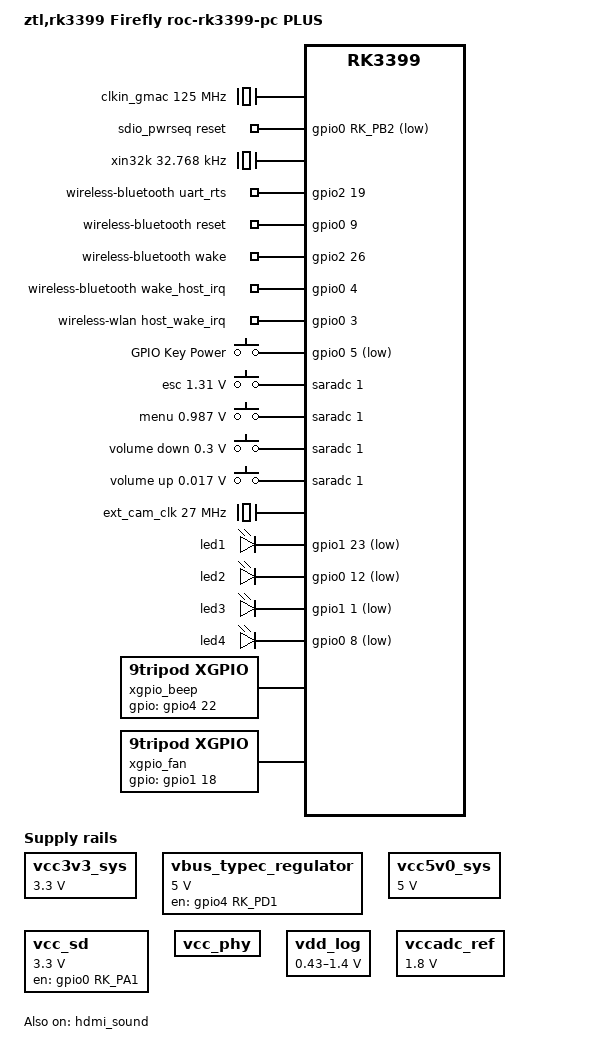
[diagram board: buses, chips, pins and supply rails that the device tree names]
/dts-v1/;

#include "rk3399-dc3399-linux.dtsi"


/ {

	compatible = "ZTL-RK3399-v1.42";
	model = "ztl,rk3399 Firefly roc-rk3399-pc PLUS";

    chosen {
		bootargs = "serial2:1500000n8";
	};

    backlight: backlight {
		status = "disabled";
		compatible = "pwm-backlight";
		pwms = <&pwm0 0 25000 0>;
		brightness-levels = <
			  0   1   2   3   4   5   6   7
			  8   9  10  11  12  13  14  15
			 16  17  18  19  20  21  22  23
			 24  25  26  27  28  29  30  31
			 32  33  34  35  36  37  38  39
			 40  41  42  43  44  45  46  47
			 48  49  50  51  52  53  54  55
			 56  57  58  59  60  61  62  63
			 64  65  66  67  68  69  70  71
			 72  73  74  75  76  77  78  79
			 80  81  82  83  84  85  86  87
			 88  89  90  91  92  93  94  95
			 96  97  98  99 100 101 102 103
			104 105 106 107 108 109 110 111
			112 113 114 115 116 117 118 119
			120 121 122 123 124 125 126 127
			128 129 130 131 132 133 134 135
			136 137 138 139 140 141 142 143
			144 145 146 147 148 149 150 151
			152 153 154 155 156 157 158 159
			160 161 162 163 164 165 166 167
			168 169 170 171 172 173 174 175
			176 177 178 179 180 181 182 183
			184 185 186 187 188 189 190 191
			192 193 194 195 196 197 198 199
			200 201 202 203 204 205 206 207
			208 209 210 211 212 213 214 215
			216 217 218 219 220 221 222 223
			224 225 226 227 228 229 230 231
			232 233 234 235 236 237 238 239
			240 241 242 243 244 245 246 247
			248 249 250 251 252 253 254 255>;
		default-brightness-level = <200>;
	};

	clkin_gmac: external-gmac-clock {
		compatible = "fixed-clock";
		clock-frequency = <125000000>;
		clock-output-names = "clkin_gmac";
		#clock-cells = <0x00>;
	};

	dw_hdmi_audio: dw-hdmi-audio {
		compatible = "rockchip,dw-hdmi-audio";
		#sound-dai-cells = <0x00>;
        status = "disabled";
	};

	dp_sound: dp-sound {
		compatible = "rockchip,cdndp-sound";
		rockchip,cpu = <&spdif>;
		rockchip,codec = <&cdn_dp &gic>;
		status = "disabled";
	};

	sdio_pwrseq: sdio-pwrseq {
		compatible = "mmc-pwrseq-simple";
		clocks = <&rk808 PLL_APLLL>;
		clock-names = "ext_clock";
		pinctrl-names = "default";
		pinctrl-0 = <&wifi_enable_h>;
		reset-gpios = <&gpio0 RK_PB2 GPIO_ACTIVE_LOW>;
	};

	vcc3v3_sys: vcc3v3-sys {
		compatible = "regulator-fixed";
		regulator-name = "vcc3v3_sys";
		regulator-always-on;
		regulator-boot-on;
		regulator-min-microvolt = <3300000>;
		regulator-max-microvolt = <3300000>;
	};

	vbus_typec_regulator: vbus-typec-regulator {
		compatible = "regulator-fixed";
		enable-active-high;
		gpio = <&gpio4 RK_PD1 GPIO_ACTIVE_HIGH>;
		pinctrl-names = "default";
		pinctrl-0 = <&otg_vbus_drv>;
		regulator-name = "vbus-typec";
		regulator-min-microvolt = <5000000>;
		regulator-max-microvolt = <5000000>;
	};

	vcc5v0_sys: vcc5v0-sys {
		compatible = "regulator-fixed";
		regulator-name = "vcc5v0_sys";
		regulator-always-on;
		regulator-boot-on;
		regulator-min-microvolt = <5000000>;
		regulator-max-microvolt = <5000000>;
	};

	vcc_sd: vcc-sd {
		compatible = "regulator-fixed";
		enable-active-high;
		gpio = <&gpio0 RK_PA1 GPIO_ACTIVE_HIGH>;
		pinctrl-names = "default";
		pinctrl-0 = <&vcc_sd_h>;
		regulator-name = "vcc_sd";
		regulator-min-microvolt = <3300000>;
		regulator-max-microvolt = <3300000>;
	};

	vcc_phy: vcc-phy-regulator {
		compatible = "regulator-fixed";
		regulator-name = "vcc_phy";
		regulator-always-on;
		regulator-boot-on;
	};

	vdd_log: vdd-log {
		compatible = "pwm-regulator";
		pwms = <&pwm2 0 25000 1>;
		regulator-name = "vdd_log";
		regulator-min-microvolt = <430000>;
		regulator-max-microvolt = <1400000>;
		regulator-always-on;
		regulator-boot-on;
		rockchip,pwm_id = <2>;
		rockchip,pwm_voltage = <900000>;
	};

	xin32k: xin32k {
		compatible = "fixed-clock";
		clock-frequency = <32768>;
		clock-output-names = "xin32k";
		#clock-cells = <0>;
	};

	dummy_codec: dummy-codec {
		compatible = "rockchip,dummy-codec";
		#sound-dai-cells = <0>;
		clocks = <&cru SCLK_I2S_8CH_OUT>;
		clock-names = "mclk";
		pinctrl-names = "default";
		pinctrl-0 = <&i2s_8ch_mclk>;
		status = "disabled";
	};

	rockchip_i2s_sound: rockchip-i2s-sound {
		compatible = "simple-audio-card";
		simple-audio-card,name = "rockchip,rockchip-i2s-sound";
		simple-audio-card,format = "i2s";
		simple-audio-card,mclk-fs = <256>;
		status = "disabled";

		simple-audio-card,cpu {
			sound-dai = <&i2s1>;
		};

		simple-audio-card,codec {
			sound-dai = <&dummy_codec>;
		};
	};

	es8388_sound: es8388-sound {
		compatible = "simple-audio-card";
		simple-audio-card,format = "i2s";
		simple-audio-card,name = "rockchip,es8388-codec";
		simple-audio-card,mclk-fs = <256>;
		simple-audio-card,widgets = "Microphone", "Mic Jack", "Headphone", "Headphone Jack";
		simple-audio-card,routing = "Mic Jack", "MICBIAS1", "IN1P", "Mic Jack", "Headphone Jack", "HPOL", "Headphone Jack", "HPOR";
		status = "okay";

		simple-audio-card,cpu {
			sound-dai = <&i2s1>;
			system-clock-frequency = <11289600>;
		};

		simple-audio-card,codec {
			sound-dai = <&es8388>;
			system-clock-frequency = <11289600>;
		};
	};

	rt5651_sound: rt5651-sound {
		compatible = "simple-audio-card";
		simple-audio-card,format = "i2s";
		simple-audio-card,name = "realtek,rt5651-codec";
		simple-audio-card,mclk-fs = <256>;
		simple-audio-card,widgets = "Microphone", "Mic Jack", "Headphone", "Headphone Jack";
		simple-audio-card,routing = "Mic Jack", "MICBIAS1", "IN1P", "Mic Jack", "Headphone Jack", "HPOL", "Headphone Jack", "HPOR";
		status = "disabled";

		simple-audio-card,cpu {
			sound-dai = <&i2s1>;
		};

		simple-audio-card,codec {
			sound-dai = <&rt5651>;
		};
	};

	spdif-sound {
		compatible = "simple-audio-card";
		simple-audio-card,name = "ROCKCHIP,SPDIF";
        status = "disabled";

		simple-audio-card,cpu {
			sound-dai = <&spdif>;
		};

		simple-audio-card,codec {
			sound-dai = <&spdif_out>;
		};
	};

	spdif_out: spdif-out {
		compatible = "linux,spdif-dit";
		#sound-dai-cells = <0>;
		status = "disabled";
	};
	
	wireless-bluetooth {
    	compatible = "bluetooth-platdata";
    	clocks = <&rk808 PLL_APLLL>;
    	clock-names = "ext_clock";
    	uart_rts_gpios = <&gpio2 19 GPIO_ACTIVE_HIGH>;
    	pinctrl-names = "default", "rts_gpio";
    	pinctrl-0 = <&uart0_rts>;
    	pinctrl-1 = <&uart0_gpios>;
    	BT,reset_gpio = <&gpio0 9 GPIO_ACTIVE_HIGH>;
    	BT,wake_gpio = <&gpio2 26 GPIO_ACTIVE_HIGH>;
    	BT,wake_host_irq = <&gpio0 4 GPIO_ACTIVE_HIGH>;
    	status = "okay";
    };

	wireless-wlan {
		compatible = "wlan-platdata";
		rockchip,grf = <&grf>;
		wifi_chip_type = "ap6212";
		sdio_vref = <1800>;
		WIFI,host_wake_irq = <&gpio0 3 GPIO_ACTIVE_HIGH>;
		status = "okay";
	};

	reserved-memory {
		#address-cells = <2>;
		#size-cells = <2>;
		ranges;

		drm_logo: drm-logo@00000000 {
			compatible = "rockchip,drm-logo";
			reg = <0x00 0x00 0x00 0x00>;
		};

		ramoops_mem: region@110000 {
			reg = <0x00 0x110000 0x00 0xf0000>;
			reg-names = "ramoops_mem";
		};
	};

	ramoops: ramoops {
		compatible = "ramoops";
		record-size = <0x00 0x40000>;
		console-size = <0x00 0x80000>;
		ftrace-size = <0x00 0x00>;
		pmsg-size = <0x00 0x00>;
		memory-region = <&ramoops_mem>;
	};

	fiq_debugger: fiq-debugger {
		compatible = "rockchip,fiq-debugger";
		rockchip,serial-id = <2>;
		rockchip,signal-irq = <182>;
		rockchip,wake-irq = <0>;
		rockchip,irq-mode-enable = <1>;
		rockchip,baudrate = <115200>;
		pinctrl-names = "default";
		pinctrl-0 = <&uart2c_xfer>;
	};

	gpio_keys: gpio-keys {
		compatible = "gpio-keys";
		#address-cells = <1>;
		#size-cells = <0>;
		autorepeat;
		pinctrl-names = "default";
		pinctrl-0 = <&pwrbtn>;

		button@0 {
			gpios = <&gpio0 5 GPIO_ACTIVE_LOW>;
			linux,code = <KEY_POWER>;
			label = "GPIO Key Power";
			linux,input-type = <1>;
			gpio-key,wakeup = <1>;
			debounce-interval = <100>;
		};
	};

	adc_keys: adc-keys {
		compatible = "adc-keys";
		io-channels = <&saradc 1>;
		io-channel-names = "buttons";
		poll-interval = <100>;
		keyup-threshold-microvolt = <1800000>;

		esc-key {
			linux,code = <KEY_ESC>;
			label = "esc";
			press-threshold-microvolt = <1310000>;
		};

		menu-key {
			linux,code = <KEY_MENU>;
			label = "menu";
			press-threshold-microvolt = <987000>;
		};

		vol-down-key {
			linux,code = <KEY_VOLUMEDOWN>;
			label = "volume down";
			press-threshold-microvolt = <300000>;
		};

		vol-up-key {
			linux,code = <KEY_VOLUMEUP>;
			label = "volume up";
			press-threshold-microvolt = <17000>;
		};
	};

	vccadc_ref: vccadc-ref {
		compatible = "regulator-fixed";
		regulator-name = "vcc1v8_sys";
		regulator-always-on;
		regulator-boot-on;
		regulator-min-microvolt = <1800000>;
		regulator-max-microvolt = <1800000>;
	};

	ext_cam_clk: external-camera-clock {
		compatible = "fixed-clock";
		clock-frequency = <27000000>;
		clock-output-names = "CLK_CAMERA_27MHZ";
		#clock-cells = <0>;
	};

	leds {
		compatible = "gpio-leds";

		led@1 {
			pinctrl-names = "default";
			pinctrl-0 = <&led1_ctl>;
			label = "led1";
			gpios = <&gpio1 23 GPIO_ACTIVE_LOW>;
			linux,default-trigger = "heartbeat";
			default-state = "off";
		};

		led@2 {
			pinctrl-names = "default";
			pinctrl-0 = <&led2_ctl>;
			label = "led2";
			gpios = <&gpio0 12 GPIO_ACTIVE_LOW>;
			default-state = "off";
		};

		led@3 {
			pinctrl-names = "default";
			pinctrl-0 = <&led3_ctl>;
			label = "led3";
			gpios = <&gpio1 1 GPIO_ACTIVE_LOW>;
			default-state = "off";
		};

		led@4 {
			pinctrl-names = "default";
			pinctrl-0 = <&led4_ctl>;
			label = "led4";
			gpios = <&gpio0 8 GPIO_ACTIVE_LOW>;
			default-state = "off";
		};
	};

	mark_gpio {
		compatible = "gpio_add_mark";
		status = "okay";
	};

	xgpio_beep {
		compatible = "9tripod,xgpio";
		pinctrl-names = "default";
		pinctrl-0 = <&beep_gpio>;
		gpio = <&gpio4 22 GPIO_ACTIVE_HIGH>;
		status = "okay";
	};

	xgpio_fan {
		compatible = "9tripod,xgpio";
		pinctrl-names = "default";
		pinctrl-0 = <&fan_gpio>;
		gpio = <&gpio1 18 GPIO_ACTIVE_HIGH>;
		status = "okay";
	};

	test-power {
		status = "okay";
	};
};

&hdmi_sound {
	compatible = "simple-audio-card";
	simple-audio-card,format = "i2s";
	simple-audio-card,mclk-fs = <256>;
	simple-audio-card,name = "rockchip,hdmi";
	status = "okay";

	simple-audio-card,cpu {
		sound-dai = <&i2s2>;
	};

	simple-audio-card,codec {
		sound-dai = <&hdmi>;
	};
};

&isp0 {
	rockchip,grf = <&grf>;
	reg = <0x00 0xff910000 0x00 0x4000>, <0x00 0xff968000 0x00 0x8000>;
	reg-names = "register", "dsihost-register";
	clocks = 
    <&cru ACLK_ISP0_NOC>,
    <&cru ACLK_ISP0_WRAPPER>,
    <&cru HCLK_ISP0_NOC>,
    <&cru HCLK_ISP0_WRAPPER>,
    <&cru SCLK_ISP0>,
    <&cru SCLK_DPHY_RX0_CFG>,
    <&cru SCLK_CIF_OUT>,
    <&cru SCLK_CIF_OUT>,
    <&cru SCLK_MIPIDPHY_REF>;
	clock-names = "aclk_isp0_noc", "aclk_isp0_wrapper", "hclk_isp0_noc", "hclk_isp0_wrapper", "clk_isp0", "pclk_dphyrx", "clk_cif_out", "clk_cif_pll", "pclk_dphy_ref";
	interrupt-names = "cif_isp10_irq";
	rockchip,isp,iommu-enable = <1>;
	status = "disabled";
};

&isp1 {
	rockchip,grf = <&grf>;
	reg = <0x00 0xff920000 0x00 0x4000>, <0x00 0xff968000 0x00 0x8000>;
	reg-names = "register", "dsihost-register";
	clocks = 
    <&cru ACLK_ISP1_NOC>,
    <&cru ACLK_ISP1_WRAPPER>,
    <&cru HCLK_ISP1_NOC>,
    <&cru HCLK_ISP1_WRAPPER>,
    <&cru SCLK_ISP1>,
    <&cru PCLK_ISP1_WRAPPER>,
    <&cru SCLK_DPHY_TX1RX1_CFG>, 
    <&cru PCLK_MIPI_DSI1>,
    <&cru SCLK_MIPIDPHY_CFG>,
    <&cru SCLK_CIF_OUT>,
    <&cru SCLK_CIF_OUT>,
    <&cru SCLK_MIPIDPHY_REF>;
	clock-names = "aclk_isp1_noc", "aclk_isp1_wrapper", "hclk_isp1_noc", "hclk_isp1_wrapper", "clk_isp1", "pclkin_isp1", "pclk_dphytxrx", "pclk_mipi_dsi", "mipi_dphy_cfg", "clk_cif_out", "clk_cif_pll", "pclk_dphy_ref";
	interrupt-names = "cif_isp10_irq";
	rockchip,isp,iommu-enable = <1>;
	status = "disabled";
};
